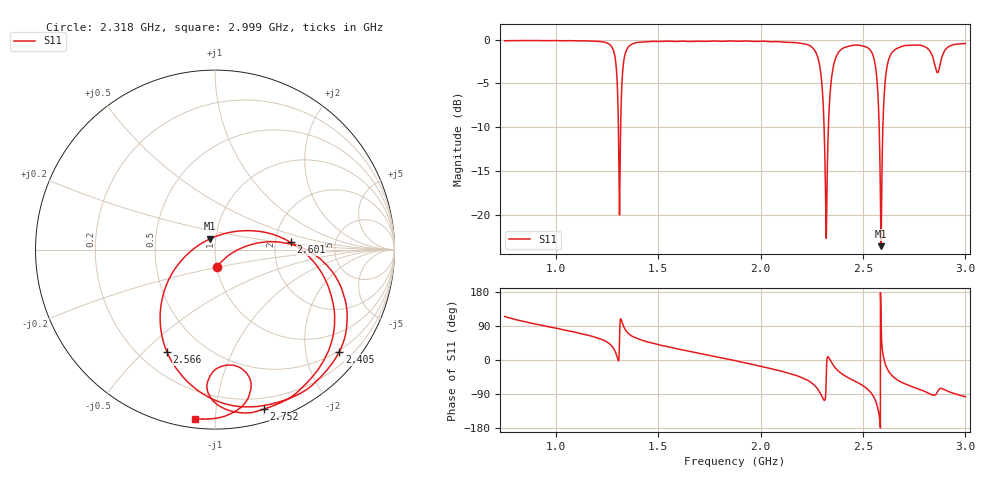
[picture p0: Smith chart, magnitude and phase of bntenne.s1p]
# Hz S DB R 50
! CMT, SC5090, 24087134, 25.3.3/4
! Date: 14.12.2025 16:07:41
! Data: Format (Calibration Info)
! Freq	S11:dB/Ang(F1)
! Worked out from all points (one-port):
!   9001 points, 750 MHz to 3 GHz, reference 50 ohm
!   lowest |S11| = -23.6 dB at 2.588 GHz (marker M1), VSWR 1.14, Z = 47 + j5.7 ohm
!   |S11| at or under -10 dB: 1.306 GHz to 1.317 GHz (11.02 MHz wide, 0.841 % of centre); 2.31 GHz to 2.331 GHz (21.06 MHz wide, 0.908 % of centre); 2.579 GHz to 2.597 GHz (17.99 MHz wide, 0.695 % of centre)
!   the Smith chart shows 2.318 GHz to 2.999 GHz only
!   S11 on the Smith chart (normalised r, x): 2.318 GHz: 1.00, -0.19; 2.405 GHz: 0.47, -2.72; 2.566 GHz: 0.31, -0.59; 2.601 GHz: 2.44, +0.24; 2.752 GHz: 0.10, -1.35; 2.999 GHz: 0.05, -0.89
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7.5e8  -0.14 114.9
1.03125e9  -0.14 80.4
1.22075e9  -0.23 54.9
1.281e9  -1.20 31.6
1.301e9  -5.66 4.9
1.3125e9  -17.65 89.2
1.33175e9  -2.46 87.8
1.3515e9  -0.92 71.4
1.59375e9  -0.20 29.4
1.875e9  -0.18 -1.6
2.15625e9  -0.32 -37.9
2.27425e9  -1.70 -73.4
2.298e9  -4.76 -94.2
2.3185e9  -20.38 -84.2
2.3545e9  -3.15 -13.3
2.40525e9  -0.94 -39.5
2.4375e9  -0.71 -49.6
2.531e9  -1.07 -81.4
2.566e9  -4.02 -115.1
2.588e9  -23.60 114.0
2.601e9  -7.46 5.5
2.62775e9  -2.10 -31.9
2.71875e9  -0.66 -65.8
2.752e9  -0.63 -72.9
2.83925e9  -1.89 -92.6
2.86525e9  -3.76 -82.8
2.9995e9  -0.45 -96.9
3e9  -0.45 -96.9
